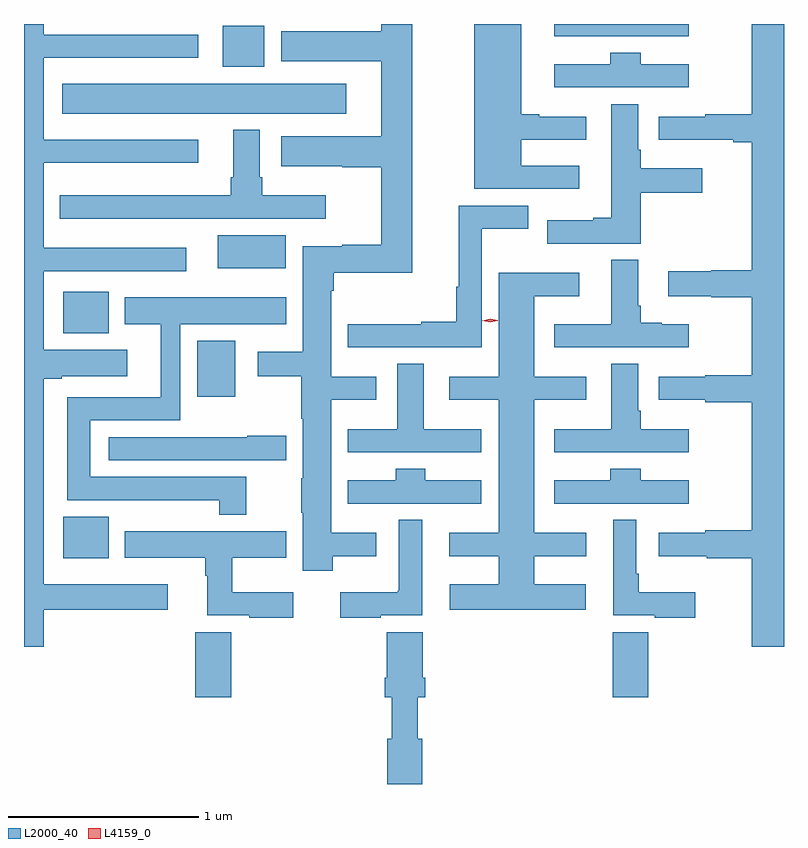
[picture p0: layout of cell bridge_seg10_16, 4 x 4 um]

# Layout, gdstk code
import gdstk
lib = gdstk.Library(unit=1e-6, precision=1e-09)
def R(c, l, rs):  # rectangles x0, y0, x1, y1
    for r in rs: c.add(gdstk.rectangle(r[:2], r[2:], *l))
def P(c, l, *ps):  # polygons
    for p in ps: c.add(gdstk.Polygon(p, *l))
L2000_40 = (2000, 40)
L4159_0 = (4159, 0)

bridge_seg10_16 = lib.new_cell('bridge_seg10_16')
R(bridge_seg10_16, L2000_40, [(1051.118,1273.814,1051.306,1274.158), (1053.314,1273.814,1053.502,1274.158), (1050.422,1274.546,1050.661,1274.764), (1051.127,1275.395,1051.327,1275.691), (1050.422,1275.731,1050.661,1275.949), (1051.235,1276.073,1051.594,1276.246), (1050.417,1276.886,1051.912,1277.044), (1051.262,1277.132,1051.48,1277.35), (1053.006,1277.294,1053.715,1277.358)])
P(bridge_seg10_16, L2000_40, [(1054.216,1277.358),(1054.046,1277.358),(1054.046,1276.883),(1053.802,1276.883),(1053.802,1276.87),(1053.558,1276.87),(1053.558,1276.748),(1053.95,1276.748),(1053.95,1276.736),(1054.046,1276.736),(1054.046,1276.061),(1053.834,1276.061),(1053.834,1276.056),(1053.606,1276.056),(1053.606,1275.926),(1053.834,1275.926),(1053.834,1275.919),(1054.046,1275.919),(1054.046,1275.51),(1053.802,1275.51),(1053.802,1275.502),(1053.558,1275.502),(1053.558,1275.38),(1053.802,1275.38),(1053.802,1275.368),(1054.046,1275.368),(1054.046,1274.693),(1053.802,1274.693),(1053.802,1274.68),(1053.558,1274.68),(1053.558,1274.558),(1053.81,1274.558),(1053.81,1274.546),(1054.046,1274.546),(1054.046,1274.081),(1054.216,1274.081)],
  [(1050.319,1274.276),(1050.973,1274.276),(1050.973,1274.41),(1050.319,1274.41),(1050.319,1275.491),(1050.415,1275.491),(1050.415,1275.503),(1050.76,1275.503),(1050.76,1275.643),(1050.319,1275.643),(1050.319,1276.058),(1051.069,1276.058),(1051.069,1276.18),(1050.319,1276.18),(1050.319,1276.628),(1051.132,1276.628),(1051.132,1276.75),(1050.319,1276.75),(1050.319,1277.18),(1051.132,1277.18),(1051.132,1277.302),(1050.319,1277.302),(1050.319,1277.358),(1050.216,1277.358),(1050.216,1274.081),(1050.319,1274.081)],
  [(1053.139,1276.612),(1052.833,1276.612),(1052.833,1276.748),(1053.175,1276.748),(1053.175,1276.87),(1052.929,1276.87),(1052.929,1276.883),(1052.833,1276.883),(1052.833,1277.358),(1052.585,1277.358),(1052.585,1276.49),(1053.139,1276.49)],
  [(1051.842,1274.558),(1052.071,1274.558),(1052.071,1274.68),(1051.834,1274.68),(1051.834,1275.38),(1052.071,1275.38),(1052.071,1275.502),(1051.834,1275.502),(1051.834,1275.953),(1051.847,1275.953),(1051.847,1276.049),(1052.26,1276.049),(1052.26,1277.358),(1052.096,1277.358),(1052.096,1277.32),(1051.569,1277.32),(1051.569,1277.162),(1052.096,1277.162),(1052.096,1276.768),(1051.569,1276.768),(1051.569,1276.61),(1051.891,1276.61),(1051.891,1276.603),(1052.096,1276.603),(1052.096,1276.197),(1051.891,1276.197),(1051.891,1276.189),(1051.682,1276.189),(1051.682,1275.634),(1051.446,1275.634),(1051.446,1275.505),(1051.675,1275.505),(1051.675,1275.28),(1051.682,1275.28),(1051.682,1274.966),(1051.675,1274.966),(1051.675,1274.785),(1051.682,1274.785),(1051.682,1274.481),(1051.842,1274.481)],
  [(1053.715,1277.146),(1053.461,1277.146),(1053.461,1277.206),(1053.301,1277.206),(1053.301,1277.146),(1053.006,1277.146),(1053.006,1277.024),(1053.715,1277.024)],
  [(1053.461,1276.471),(1053.787,1276.471),(1053.787,1276.6),(1053.461,1276.6),(1053.461,1276.696),(1053.448,1276.696),(1053.448,1276.936),(1053.308,1276.936),(1053.308,1276.337),(1053.212,1276.337),(1053.212,1276.324),(1052.97,1276.324),(1052.97,1276.202),(1053.461,1276.202)],
  [(1051.804,1276.456),(1051.469,1276.456),(1051.469,1276.552),(1051.456,1276.552),(1051.456,1276.801),(1051.316,1276.801),(1051.316,1276.552),(1051.304,1276.552),(1051.304,1276.456),(1050.404,1276.456),(1050.404,1276.334),(1051.804,1276.334)],
  [(1052.626,1276.28),(1052.869,1276.28),(1052.869,1276.402),(1052.504,1276.402),(1052.504,1275.974),(1052.492,1275.974),(1052.492,1275.791),(1052.308,1275.791),(1052.308,1275.778),(1051.919,1275.778),(1051.919,1275.656),(1052.626,1275.656)],
  [(1053.715,1275.778),(1053.573,1275.778),(1053.573,1275.786),(1053.461,1275.786),(1053.461,1275.874),(1053.448,1275.874),(1053.448,1276.117),(1053.308,1276.117),(1053.308,1275.778),(1053.006,1275.778),(1053.006,1275.656),(1053.715,1275.656)],
  [(1053.172,1274.41),(1052.902,1274.41),(1052.902,1274.558),(1053.175,1274.558),(1053.175,1274.68),(1052.902,1274.68),(1052.902,1275.38),(1053.175,1275.38),(1053.175,1275.502),(1052.902,1275.502),(1052.902,1275.926),(1053.139,1275.926),(1053.139,1276.048),(1052.714,1276.048),(1052.714,1275.502),(1052.454,1275.502),(1052.454,1275.38),(1052.714,1275.38),(1052.714,1274.68),(1052.454,1274.68),(1052.454,1274.558),(1052.714,1274.558),(1052.714,1274.41),(1052.457,1274.41),(1052.457,1274.276),(1053.172,1274.276)],
  [(1051.386,1274.974),(1050.565,1274.974),(1050.565,1275.272),(1051.039,1275.272),(1051.039,1275.779),(1051.597,1275.779),(1051.597,1275.919),(1050.746,1275.919),(1050.746,1275.779),(1050.935,1275.779),(1050.935,1275.394),(1050.443,1275.394),(1050.443,1274.852),(1051.244,1274.852),(1051.244,1274.774),(1051.386,1274.774)],
  [(1052.623,1275.226),(1052.32,1275.226),(1052.32,1275.571),(1052.18,1275.571),(1052.18,1275.226),(1051.919,1275.226),(1051.919,1275.104),(1052.623,1275.104)],
  [(1053.715,1275.226),(1053.461,1275.226),(1053.461,1275.322),(1053.448,1275.322),(1053.448,1275.571),(1053.308,1275.571),(1053.308,1275.226),(1053.006,1275.226),(1053.006,1275.104),(1053.715,1275.104)],
  [(1051.597,1275.192),(1051.39,1275.192),(1051.39,1275.184),(1050.663,1275.184),(1050.663,1275.062),(1051.597,1275.062)],
  [(1052.623,1274.956),(1052.328,1274.956),(1052.328,1275.016),(1052.173,1275.016),(1052.173,1274.956),(1051.919,1274.956),(1051.919,1274.834),(1052.623,1274.834)],
  [(1053.715,1274.956),(1053.461,1274.956),(1053.461,1275.016),(1053.301,1275.016),(1053.301,1274.956),(1053.006,1274.956),(1053.006,1274.834),(1053.715,1274.834)],
  [(1053.748,1274.368),(1053.452,1274.368),(1053.452,1274.464),(1053.439,1274.464),(1053.439,1274.749),(1053.317,1274.749),(1053.317,1274.246),(1053.535,1274.246),(1053.535,1274.234),(1053.748,1274.234)],
  [(1052.093,1274.246),(1052.311,1274.246),(1052.311,1274.749),(1052.189,1274.749),(1052.189,1274.376),(1052.182,1274.376),(1052.182,1274.368),(1051.881,1274.368),(1051.881,1274.234),(1052.093,1274.234)],
  [(1051.633,1274.368),(1051.311,1274.368),(1051.311,1274.549),(1051.597,1274.549),(1051.597,1274.689),(1050.746,1274.689),(1050.746,1274.549),(1051.169,1274.549),(1051.169,1274.453),(1051.181,1274.453),(1051.181,1274.246),(1051.402,1274.246),(1051.402,1274.234),(1051.633,1274.234)],
  [(1052.312,1273.597),(1052.288,1273.597),(1052.288,1273.814),(1052.327,1273.814),(1052.327,1273.918),(1052.314,1273.918),(1052.314,1274.158),(1052.126,1274.158),(1052.126,1273.918),(1052.114,1273.918),(1052.114,1273.814),(1052.152,1273.814),(1052.152,1273.597),(1052.129,1273.597),(1052.129,1273.358),(1052.312,1273.358)])
P(bridge_seg10_16, L4159_0, [(1052.669,1275.787),(1052.629,1275.796),(1052.629,1275.796),(1052.629,1275.796),(1052.669,1275.807),(1052.709,1275.798),(1052.71,1275.797),(1052.709,1275.797)])

lib.write_gds('bridge_seg10_16.gds')
